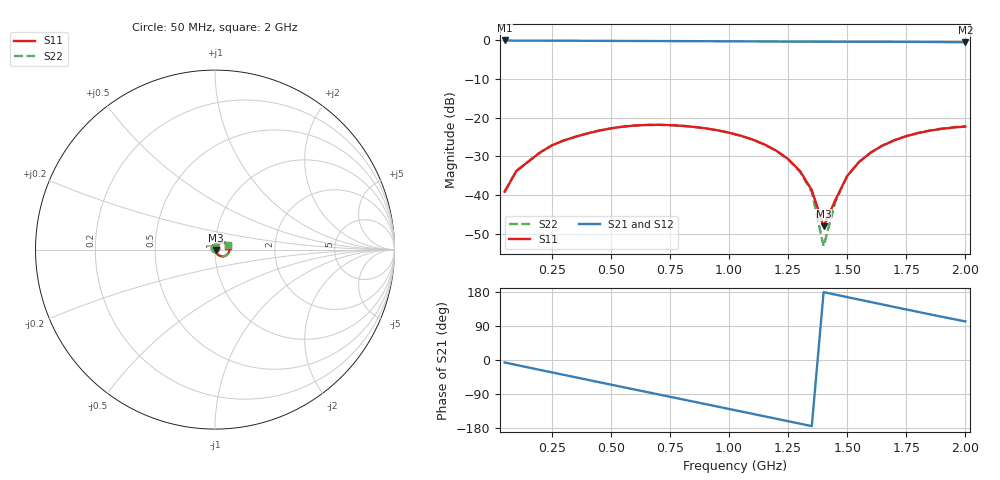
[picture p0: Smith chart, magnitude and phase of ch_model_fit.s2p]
! .MODEL  SMODEL ch_model S  TSTONEFILE=.\ch_model_fit.s2p  TYPE=SFMAX=  3e+10
! The above .MODEL line can be used for the S element in the netlist.
# Hz S RI R  50
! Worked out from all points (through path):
!   40 points, 50 MHz to 2 GHz, reference 50 ohm
!   highest |S21| = -0.03 dB at 50 MHz (marker M1); lowest = -0.5 dB at 2 GHz (marker M2)
!   group delay of S21, straight-line fit = 359 ps
!   lowest |S11| = -48.1 dB at 1.4 GHz (marker M3), VSWR 1.01, Z = 50.4 - j0.152 ohm
!   |S11| at or under -10 dB: start of sweep to end of sweep
!   |S22| runs from -53.2 to -21.8 dB; largest |S21 - S12| = 0
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5e7  0.00156 0.011  0.9907 -0.1122  0.9907 -0.1122  0.00155 0.011
1e8  0.00249 0.0204  0.9664 -0.2239  0.9664 -0.2239  0.00248 0.0204
2e8  0.0133 0.0331  0.8891 -0.4373  0.8891 -0.4373  0.0132 0.0331
3e8  0.0305 0.0406  0.7668 -0.6238  0.7668 -0.6238  0.0305 0.0406
4e8  0.0475 0.0409  0.6064 -0.7787  0.6064 -0.7787  0.0475 0.0409
5.5e8  0.0714 0.0281  0.3127 -0.9317  0.3127 -0.9317  0.0713 0.0281
7e8  0.081 0.00284  -0.0113 -0.9791  -0.0113 -0.9791  0.0809 0.0029
8.5e8  0.0732 -0.0215  -0.3324 -0.9178  -0.3324 -0.9178  0.0732 -0.0215
9.5e8  0.0608 -0.0325  -0.5272 -0.8185  -0.5272 -0.8185  0.0606 -0.0327
1.05e9  0.0449 -0.0374  -0.6946 -0.6779  -0.6946 -0.6779  0.0446 -0.0377
1.15e9  0.0283 -0.0352  -0.8257 -0.5036  -0.8257 -0.5036  0.0276 -0.0355
1.25e9  0.014 -0.0257  -0.9144 -0.3048  -0.9144 -0.3048  0.0129 -0.0259
1.3e9  0.0087 -0.0186  -0.9416 -0.1994  -0.9416 -0.1994  0.00734 -0.0188
1.35e9  0.00517 -0.0104  -0.9569 -0.0917  -0.9569 -0.0917  0.00355 -0.0104
1.4e9  0.00364 -0.00151  -0.9602 0.0172  -0.9602 0.0172  0.00175 -0.00132
1.45e9  0.00426 0.00758  -0.9513 0.1257  -0.9513 0.1257  0.0021 0.00803
1.5e9  0.00703 0.0163  -0.9303 0.2328  -0.9303 0.2328  0.00461 0.0171
1.55e9  0.0118 0.0241  -0.8974 0.3368  -0.8974 0.3368  0.00913 0.0253
1.6e9  0.0182 0.0306  -0.8528 0.4365  -0.8528 0.4365  0.0154 0.0322
1.7e9  0.0343 0.038  -0.7312 0.6169  -0.7312 0.6169  0.0313 0.0408
1.85e9  0.0586 0.0348  -0.4835 0.8205  -0.4835 0.8205  0.056 0.0396
2e9  0.0741 0.02  -0.1937 0.9249  -0.1937 0.9249  0.073 0.0267
